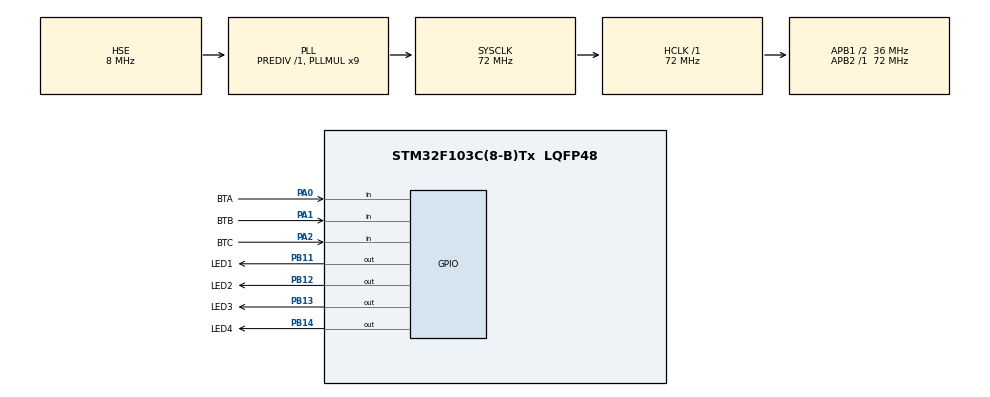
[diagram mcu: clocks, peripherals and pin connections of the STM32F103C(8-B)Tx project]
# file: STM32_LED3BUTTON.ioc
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Mcu.Family=STM32F1
Mcu.Name=STM32F103C(8-B)Tx
Mcu.Package=LQFP48
NVIC.PriorityGroup=NVIC_PRIORITYGROUP_4
PA0-WKUP.GPIO_Label=BTA
PA0-WKUP.GPIO_PuPd=GPIO_PULLUP
PA0-WKUP.Signal=GPIO_Input
PA1.GPIO_Label=BTB
PA1.GPIO_PuPd=GPIO_PULLUP
PA1.Signal=GPIO_Input
PA13.Mode=Serial_Wire
PA13.Signal=SYS_JTMS-SWDIO
PA14.Mode=Serial_Wire
PA14.Signal=SYS_JTCK-SWCLK
PA2.GPIO_Label=BTC
PA2.GPIO_PuPd=GPIO_PULLUP
PA2.Signal=GPIO_Input
PB11.GPIO_Label=LED1
PB11.Signal=GPIO_Output
PB12.GPIO_Label=LED2
PB12.Signal=GPIO_Output
PB13.GPIO_Label=LED3
PB13.Signal=GPIO_Output
PB14.GPIO_Label=LED4
PB14.Signal=GPIO_Output
PD0-OSC_IN.Mode=HSE-External-Oscillator
PD0-OSC_IN.Signal=RCC_OSC_IN
PD1-OSC_OUT.Mode=HSE-External-Oscillator
PD1-OSC_OUT.Signal=RCC_OSC_OUT
ProjectManager.HeapSize=0x200
ProjectManager.StackSize=0x400
ProjectManager.TargetToolchain=STM32CubeIDE
RCC.AHBFreq_Value=72000000
RCC.APB1CLKDivider=RCC_HCLK_DIV2
RCC.APB1Freq_Value=36000000
RCC.APB1TimFreq_Value=72000000
RCC.APB2Freq_Value=72000000
RCC.APB2TimFreq_Value=72000000
RCC.HCLKFreq_Value=72000000
RCC.PLLMUL=RCC_PLL_MUL9
RCC.PLLSourceVirtual=RCC_PLLSOURCE_HSE
RCC.SYSCLKFreq_VALUE=72000000
RCC.SYSCLKSource=RCC_SYSCLKSOURCE_PLLCLK
RCC.USBFreq_Value=72000000
board=custom

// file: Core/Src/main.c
/* USER CODE BEGIN Header */
/**
  ******************************************************************************
  * @file           : main.c
  * @brief          : Main program body
  ******************************************************************************
  */
/* USER CODE END Header */
#include "main.h"
#include "GPIOx.h"

/* USER CODE BEGIN Includes */
// Định nghĩa các trạng thái
#define MODE_STOP           0
#define MODE_RIGHT_TO_LEFT  1
#define MODE_LEFT_TO_RIGHT  2
/* USER CODE END Includes */

void SystemClock_Config(void);
static void MX_GPIO_Init(void);

int main(void)
{

  /* MCU Configuration--------------------------------------------------------*/

  /* Reset of all peripherals, Initializes the Flash interface and the Systick. */
  HAL_Init();

  /* Configure the system clock */
  SystemClock_Config();

  /* Initialize all configured peripherals */
  MX_GPIO_Init();
  /* USER CODE BEGIN 2 */
  // 1. Khởi tạo 4 LED tại PB11, PB12, PB13, PB14 bằng thư viện của Vinh
  GPIOx_Init(GPIOB, 11, OUT_PUSH_PULL, NO_PULL, OUTPUT_SPEED_2MHZ);
  GPIOx_Init(GPIOB, 12, OUT_PUSH_PULL, NO_PULL, OUTPUT_SPEED_2MHZ);
  GPIOx_Init(GPIOB, 13, OUT_PUSH_PULL, NO_PULL, OUTPUT_SPEED_2MHZ);
  GPIOx_Init(GPIOB, 14, OUT_PUSH_PULL, NO_PULL, OUTPUT_SPEED_2MHZ);

  // 2. Khởi tạo 3 Button tại PA0 (A), PA1 (B), PA2 (C) - Chế độ Pull-up
  GPIOx_Init(GPIOA, 0, INPUT_PULL_UP_DOW, PULL_UP, INPUT_MODE);
  GPIOx_Init(GPIOA, 1, INPUT_PULL_UP_DOW, PULL_UP, INPUT_MODE);
  GPIOx_Init(GPIOA, 2, INPUT_PULL_UP_DOW, PULL_UP, INPUT_MODE);

  uint8_t current_mode = MODE_STOP;
  /* USER CODE END 2 */

  /* Infinite loop */
  /* USER CODE BEGIN WHILE */
  while (1)
  {
    // Đọc trạng thái nút nhấn (Logic 0 là nhấn)
    if (GPIOx_Read(GPIOA, 0) == 0) current_mode = MODE_RIGHT_TO_LEFT;
    if (GPIOx_Read(GPIOA, 1) == 0) current_mode = MODE_STOP;
    if (GPIOx_Read(GPIOA, 2) == 0) current_mode = MODE_LEFT_TO_RIGHT;

    // Hiệu ứng dịch điểm sáng
    if (current_mode == MODE_RIGHT_TO_LEFT)
    {
      for (int i = 14; i >= 11 && current_mode == MODE_RIGHT_TO_LEFT; i--)
      {
        // Tắt hết 4 LED
        for(int j = 11; j <= 14; j++) GPIOx_Write(GPIOB, j, 0);
        // Bật LED hiện tại
        GPIOx_Write(GPIOB, i, 1);
        HAL_Delay(200);

        // Check nút bấm liên tục để thoát loop ngay lập tức
        if (GPIOx_Read(GPIOA, 1) == 0) current_mode = MODE_STOP;
        if (GPIOx_Read(GPIOA, 2) == 0) current_mode = MODE_LEFT_TO_RIGHT;
      }
    }
    else if (current_mode == MODE_LEFT_TO_RIGHT)
    {
      for (int i = 11; i <= 14 && current_mode == MODE_LEFT_TO_RIGHT; i++)
      {
        for(int j = 11; j <= 14; j++) GPIOx_Write(GPIOB, j, 0);
        GPIOx_Write(GPIOB, i, 1);
        HAL_Delay(200);

        if (GPIOx_Read(GPIOA, 1) == 0) current_mode = MODE_STOP;
        if (GPIOx_Read(GPIOA, 0) == 0) current_mode = MODE_RIGHT_TO_LEFT;
      }
    }
    else
    {
      // MODE_STOP: Tắt hết LED
      for(int j = 11; j <= 14; j++) GPIOx_Write(GPIOB, j, 0);
    }
    /* USER CODE END WHILE */

  }
}

void SystemClock_Config(void)
{
  RCC_OscInitTypeDef RCC_OscInitStruct = {0};
  RCC_ClkInitTypeDef RCC_ClkInitStruct = {0};

  /** Initializes the RCC Oscillators according to the specified parameters
  * in the RCC_OscInitTypeDef structure.
  */
  RCC_OscInitStruct.OscillatorType = RCC_OSCILLATORTYPE_HSE;
  RCC_OscInitStruct.HSEState = RCC_HSE_ON;
  RCC_OscInitStruct.HSEPredivValue = RCC_HSE_PREDIV_DIV1;
  RCC_OscInitStruct.HSIState = RCC_HSI_ON;
  RCC_OscInitStruct.PLL.PLLState = RCC_PLL_ON;
  RCC_OscInitStruct.PLL.PLLSource = RCC_PLLSOURCE_HSE;
  RCC_OscInitStruct.PLL.PLLMUL = RCC_PLL_MUL9;
  if (HAL_RCC_OscConfig(&RCC_OscInitStruct) != HAL_OK)
  {
    Error_Handler();
  }

  /** Initializes the CPU, AHB and APB buses clocks
  */
  RCC_ClkInitStruct.ClockType = RCC_CLOCKTYPE_HCLK|RCC_CLOCKTYPE_SYSCLK
                              |RCC_CLOCKTYPE_PCLK1|RCC_CLOCKTYPE_PCLK2;
  RCC_ClkInitStruct.SYSCLKSource = RCC_SYSCLKSOURCE_PLLCLK;
  RCC_ClkInitStruct.AHBCLKDivider = RCC_SYSCLK_DIV1;
  RCC_ClkInitStruct.APB1CLKDivider = RCC_HCLK_DIV2;
  RCC_ClkInitStruct.APB2CLKDivider = RCC_HCLK_DIV1;

  if (HAL_RCC_ClockConfig(&RCC_ClkInitStruct, FLASH_LATENCY_2) != HAL_OK)
  {
    Error_Handler();
  }
}

static void MX_GPIO_Init(void)
{
  GPIO_InitTypeDef GPIO_InitStruct = {0};

  /* GPIO Ports Clock Enable */
  __HAL_RCC_GPIOD_CLK_ENABLE();
  __HAL_RCC_GPIOA_CLK_ENABLE();
  __HAL_RCC_GPIOB_CLK_ENABLE();

  /*Configure GPIO pin Output Level */
  HAL_GPIO_WritePin(GPIOB, LED1_Pin|LED2_Pin|LED3_Pin|LED4_Pin, GPIO_PIN_RESET);

  /*Configure GPIO pins : BTA_Pin BTB_Pin BTC_Pin */
  GPIO_InitStruct.Pin = BTA_Pin|BTB_Pin|BTC_Pin;
  GPIO_InitStruct.Mode = GPIO_MODE_INPUT;
  GPIO_InitStruct.Pull = GPIO_PULLUP;
  HAL_GPIO_Init(GPIOA, &GPIO_InitStruct);

  /*Configure GPIO pins : LED1_Pin LED2_Pin LED3_Pin LED4_Pin */
  GPIO_InitStruct.Pin = LED1_Pin|LED2_Pin|LED3_Pin|LED4_Pin;
  GPIO_InitStruct.Mode = GPIO_MODE_OUTPUT_PP;
  GPIO_InitStruct.Pull = GPIO_NOPULL;
  GPIO_InitStruct.Speed = GPIO_SPEED_FREQ_LOW;
  HAL_GPIO_Init(GPIOB, &GPIO_InitStruct);

}

void Error_Handler(void)
{
  __disable_irq();
  while (1)
  {
  }
}
